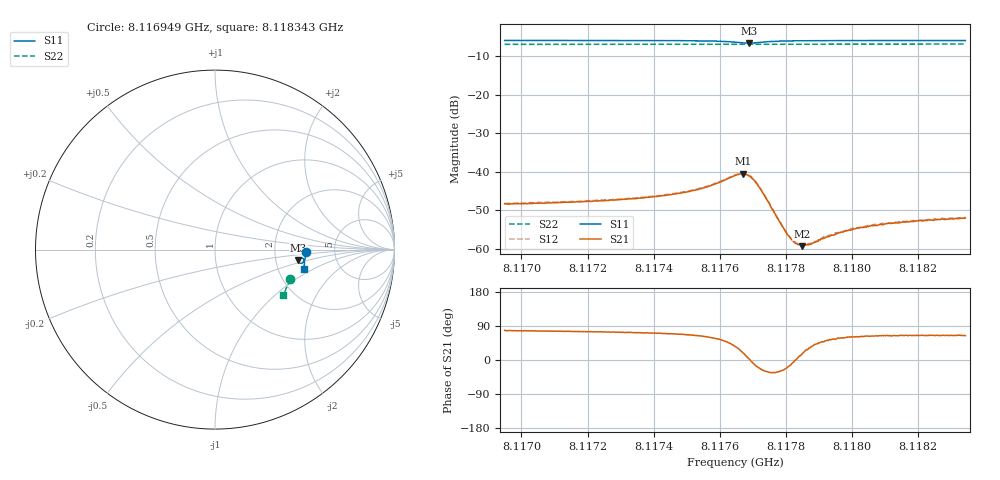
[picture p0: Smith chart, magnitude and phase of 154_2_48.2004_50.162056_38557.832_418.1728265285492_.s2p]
#  HZ  S  RI  R  50.00
! Rohde & Schwarz Vector Network Analyzer
! Rohde-Schwarz,ZNB20-2Port,1311601062101988,3.16
! Created: UTC 3/20/2024, 11:42:56 AM
! freq[Hz]  re:S11  im:S11  re:S21  im:S21  re:S12  im:S12  re:S22  im:S22
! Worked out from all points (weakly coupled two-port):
!   401 points, 8.116949 GHz to 8.118343 GHz, reference 50 ohm
!   highest |S21| = -40.51 dB at 8.117671 GHz (marker M1); lowest = -59.3 dB at 8.117848 GHz (marker M2)
!   lowest |S11| = -6.6 dB at 8.117688 GHz (marker M3), VSWR 2.75, Z = 134 - j20.2 ohm
!   |S11| at or under -10 dB: nowhere
!   |S22| runs from -6.9 to -6.8 dB; largest |S21 - S12| = 0.00033
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8.116949e9  0.506 -0.013  0.000781 0.00376  0.000874 0.00378  0.4188 -0.1661
8.1171825e9  0.5048 -0.0318  0.00105 0.00395  0.00112 0.004  0.4132 -0.1814
8.1172871e9  0.5037 -0.0404  0.00122 0.00412  0.00129 0.00417  0.4104 -0.1881
8.1174161e9  0.5018 -0.0519  0.00158 0.00455  0.00168 0.0046  0.407 -0.1964
8.1175346e9  0.4971 -0.065  0.00258 0.00529  0.00268 0.00538  0.4036 -0.2041
8.1175834e9  0.4921 -0.0716  0.00365 0.00582  0.00384 0.00588  0.4018 -0.2073
8.1176461e9  0.4751 -0.0763  0.0072 0.00528  0.00738 0.00534  0.3992 -0.2111
8.1176705e9  0.4654 -0.069  0.00893 0.00303  0.00907 0.00302  0.3981 -0.2122
8.117688e9  0.4636 -0.0587  0.00881 0.000439  0.00905 0.00044  0.3977 -0.2127
8.1177019e9  0.4671 -0.0509  0.00781 -0.00128  0.00794 -0.00131  0.3974 -0.2132
8.1177193e9  0.4752 -0.046  0.00589 -0.00228  0.00593 -0.00239  0.3974 -0.214
8.1177821e9  0.4937 -0.0532  0.0019 -0.00108  0.00197 -0.00115  0.3963 -0.2185
8.1178065e9  0.4961 -0.0576  0.00143 -0.000471  0.00146 -0.000487  0.3956 -0.2202
8.1178309e9  0.4973 -0.0613  0.00117 1.71e-05  0.00117 1.98e-05  0.3951 -0.2217
8.1178483e9  0.4979 -0.0639  0.00104 0.000284  0.00108 0.000315  0.3944 -0.2227
8.1178797e9  0.4984 -0.068  0.00095 0.000701  0.000961 0.00067  0.3934 -0.2249
8.1179215e9  0.4986 -0.0726  0.00089 0.0011  0.000929 0.00107  0.392 -0.2277
8.1179982e9  0.498 -0.0804  0.000838 0.00155  0.000941 0.00158  0.3895 -0.2324
8.1180609e9  0.4973 -0.0861  0.000902 0.00178  0.00092 0.00182  0.3873 -0.2362
8.1181132e9  0.4966 -0.0906  0.000926 0.00194  0.000939 0.00195  0.3856 -0.2396
8.1182701e9  0.4944 -0.1031  0.00104 0.00218  0.00107 0.00224  0.3801 -0.249
8.1183433e9  0.4931 -0.1089  0.00108 0.00226  0.0011 0.00229  0.3774 -0.2535
